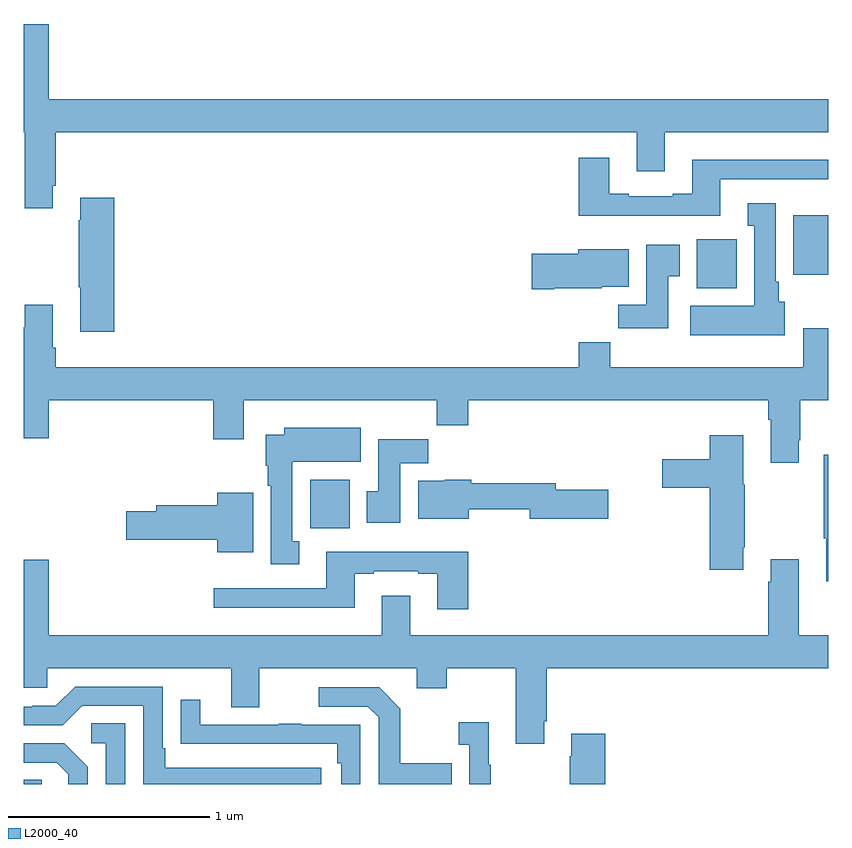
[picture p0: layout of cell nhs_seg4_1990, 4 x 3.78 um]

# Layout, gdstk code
import gdstk
lib = gdstk.Library(unit=1e-6, precision=1e-09)
def R(c, l, rs):  # rectangles x0, y0, x1, y1
    for r in rs: c.add(gdstk.rectangle(r[:2], r[2:], *l))
def P(c, l, *ps):  # polygons
    for p in ps: c.add(gdstk.Polygon(p, *l))
L2000_40 = (2000, 40)

nhs_seg4_1990 = lib.new_cell('nhs_seg4_1990')
R(nhs_seg4_1990, L2000_40, [(213,806.9,213.09,806.921), (214.424,808.172,214.621,808.414), (216.347,809.366,216.544,809.608), (216.827,809.432,217,809.728)])
P(nhs_seg4_1990, L2000_40, [(213.145,809.875),(213.158,809.875),(213.158,810.14),(216.047,810.14),(216.047,809.946),(216.187,809.946),(216.187,810.14),(217,810.14),(217,810.304),(213.124,810.304),(213.124,810.679),(213,810.679),(213,810.14),(213.005,810.14),(213.005,809.763),(213.145,809.763)],
  [(216.463,809.907),(217,809.907),(217,810.004),(216.323,810.004),(216.323,809.836),(216.227,809.836),(216.227,809.823),(216.007,809.823),(216.007,809.836),(215.911,809.836),(215.911,810.013),(215.759,810.013),(215.759,809.726),(216.463,809.726)],
  [(213.449,809.815),(213.281,809.815),(213.281,809.702),(213.274,809.702),(213.274,809.371),(213.281,809.371),(213.281,809.148),(213.449,809.148)],
  [(216.784,809.298),(216.754,809.298),(216.754,809.398),(216.739,809.398),(216.739,809.788),(216.599,809.788),(216.599,809.675),(216.632,809.675),(216.632,809.278),(216.315,809.278),(216.315,809.132),(216.784,809.132)],
  [(216.205,809.425),(216.262,809.425),(216.262,809.581),(216.095,809.581),(216.095,809.284),(215.956,809.284),(215.956,809.166),(216.205,809.166)],
  [(215.638,809.366),(215.874,809.366),(215.874,809.372),(216.007,809.372),(216.007,809.56),(215.756,809.56),(215.756,809.537),(215.526,809.537),(215.526,809.359),(215.638,809.359)],
  [(216.853,808.609),(216.861,808.609),(216.861,808.808),(217,808.808),(217,809.167),(216.875,809.167),(216.875,808.972),(215.915,808.972),(215.915,809.096),(215.759,809.096),(215.759,808.972),(213.158,808.972),(213.158,809.068),(213.145,809.068),(213.145,809.284),(213.005,809.284),(213.005,809.171),(213,809.171),(213,808.62),(213.124,808.62),(213.124,808.808),(213.941,808.808),(213.941,808.614),(214.093,808.614),(214.093,808.808),(215.053,808.808),(215.053,808.684),(215.21,808.684),(215.21,808.808),(216.701,808.808),(216.701,808.712),(216.713,808.712),(216.713,808.497),(216.853,808.497)],
  [(214.369,808.106),(214.336,808.106),(214.336,808.502),(214.675,808.502),(214.675,808.672),(214.295,808.672),(214.295,808.636),(214.202,808.636),(214.202,808.482),(214.214,808.482),(214.214,808.382),(214.229,808.382),(214.229,807.993),(214.369,807.993)],
  [(216.577,808.078),(216.585,808.078),(216.585,808.389),(216.577,808.389),(216.577,808.633),(216.41,808.633),(216.41,808.515),(216.174,808.515),(216.174,808.373),(216.41,808.373),(216.41,807.966),(216.577,807.966)],
  [(214.873,808.496),(215.012,808.496),(215.012,808.614),(214.763,808.614),(214.763,808.356),(214.706,808.356),(214.706,808.2),(214.873,808.2)],
  [(217,808.537),(216.978,808.537),(216.978,808.121),(216.989,808.121),(216.989,807.909),(217,807.909)],
  [(215.212,808.267),(215.516,808.267),(215.516,808.22),(215.905,808.22),(215.905,808.362),(215.644,808.362),(215.644,808.396),(215.225,808.396),(215.225,808.414),(215.094,808.414),(215.094,808.408),(214.961,808.408),(214.961,808.22),(215.212,808.22)],
  [(214.141,808.348),(213.962,808.348),(213.962,808.286),(213.659,808.286),(213.659,808.256),(213.51,808.256),(213.51,808.114),(213.962,808.114),(213.962,808.052),(214.141,808.052)],
  [(215.21,808.054),(214.505,808.054),(214.505,807.873),(213.945,807.873),(213.945,807.776),(214.645,807.776),(214.645,807.945),(214.741,807.945),(214.741,807.957),(214.961,807.957),(214.961,807.945),(215.057,807.945),(215.057,807.768),(215.21,807.768)],
  [(215.587,807.211),(215.6,807.211),(215.6,807.476),(217,807.476),(217,807.64),(216.853,807.64),(216.853,808.018),(216.713,808.018),(216.713,807.905),(216.701,807.905),(216.701,807.64),(214.921,807.64),(214.921,807.835),(214.781,807.835),(214.781,807.64),(213.124,807.64),(213.124,808.015),(213,808.015),(213,807.378),(213.117,807.378),(213.117,807.476),(214.031,807.476),(214.031,807.282),(214.171,807.282),(214.171,807.476),(214.955,807.476),(214.955,807.377),(215.103,807.377),(215.103,807.476),(215.447,807.476),(215.447,807.099),(215.587,807.099)],
  [(214.48,806.982),(213.703,806.982),(213.703,807.079),(213.69,807.079),(213.69,807.384),(213.255,807.384),(213.159,807.288),(213.041,807.288),(213.041,807.285),(213,807.285),(213,807.192),(213.195,807.192),(213.291,807.288),(213.594,807.288),(213.594,806.9),(214.48,806.9)],
  [(215.129,807.003),(214.873,807.003),(214.873,807.275),(214.767,807.381),(214.467,807.381),(214.467,807.285),(214.71,807.285),(214.764,807.231),(214.764,806.9),(215.129,806.9)],
  [(214.674,807.195),(214.379,807.195),(214.379,807.2),(214.267,807.2),(214.267,807.195),(213.877,807.195),(213.877,807.319),(213.781,807.319),(213.781,807.1),(213.883,807.1),(213.883,807.099),(214.558,807.099),(214.558,807.002),(214.578,807.002),(214.578,806.9),(214.674,806.9)],
  [(215.323,806.995),(215.311,806.995),(215.311,807.208),(215.163,807.208),(215.163,807.095),(215.214,807.095),(215.214,806.9),(215.323,806.9)],
  [(213.504,807.203),(213.336,807.203),(213.336,807.102),(213.408,807.102),(213.408,806.9),(213.504,806.9)],
  [(215.891,807.151),(215.723,807.151),(215.723,807.038),(215.716,807.038),(215.716,806.9),(215.891,806.9)],
  [(213.318,806.986),(213.202,807.102),(213,807.102),(213,807.006),(213.164,807.006),(213.221,806.949),(213.221,806.9),(213.318,806.9)])

lib.write_gds('nhs_seg4_1990.gds')
